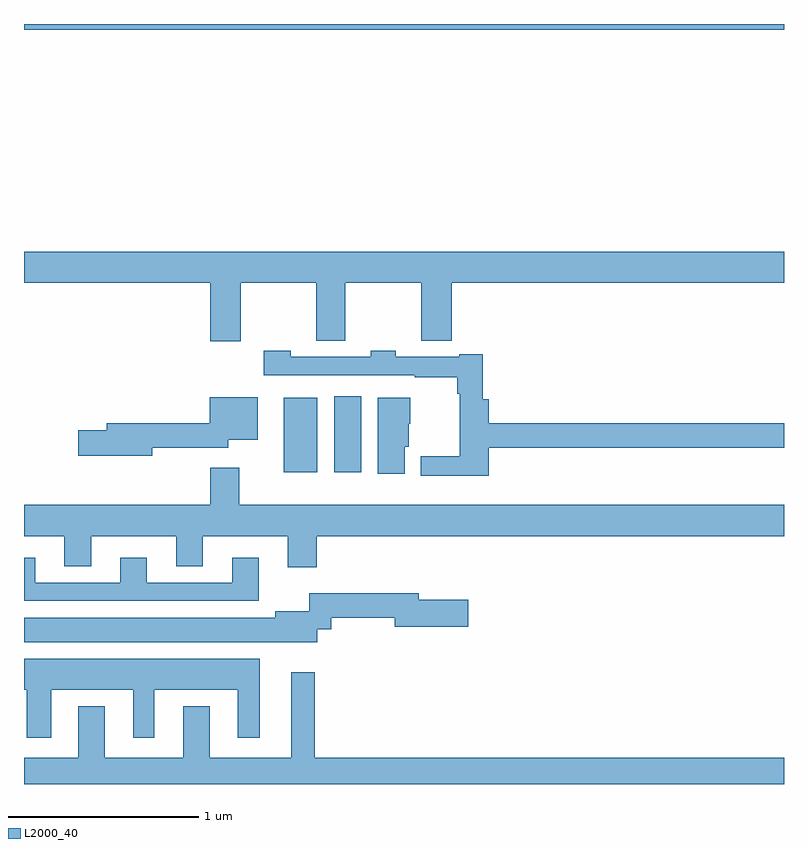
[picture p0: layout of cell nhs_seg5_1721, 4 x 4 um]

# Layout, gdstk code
import gdstk
lib = gdstk.Library(unit=1e-6, precision=1e-09)
def R(c, l, rs):  # rectangles x0, y0, x1, y1
    for r in rs: c.add(gdstk.rectangle(r[:2], r[2:], *l))
def P(c, l, *ps):  # polygons
    for p in ps: c.add(gdstk.Polygon(p, *l))
L2000_40 = (2000, 40)

nhs_seg5_1721 = lib.new_cell('nhs_seg5_1721')
R(nhs_seg5_1721, L2000_40, [(216.368,846.44,216.544,846.832), (216.632,846.44,216.775,846.841), (215,848.768,219,848.799)])
P(nhs_seg5_1721, L2000_40, [(216.141,847.436),(216.538,847.436),(216.538,847.132),(216.692,847.132),(216.692,847.436),(217.09,847.436),(217.09,847.132),(217.25,847.132),(217.25,847.436),(219,847.436),(219,847.6),(215,847.6),(215,847.436),(215.981,847.436),(215.981,847.128),(216.141,847.128)],
  [(217.445,846.57),(219,846.57),(219,846.698),(217.445,846.698),(217.445,846.823),(217.415,846.823),(217.415,847.06),(217.292,847.06),(217.292,847.047),(216.957,847.047),(216.957,847.08),(216.825,847.08),(216.825,847.047),(216.405,847.047),(216.405,847.08),(216.261,847.08),(216.261,846.951),(217.057,846.951),(217.057,846.939),(217.279,846.939),(217.279,846.854),(217.294,846.854),(217.294,846.524),(217.089,846.524),(217.089,846.422),(217.445,846.422)],
  [(215.674,846.57),(216.076,846.57),(216.076,846.611),(216.229,846.611),(216.229,846.835),(215.978,846.835),(215.978,846.698),(215.435,846.698),(215.435,846.662),(215.286,846.662),(215.286,846.527),(215.674,846.527)],
  [(217.003,846.573),(217.024,846.573),(217.024,846.696),(217.033,846.696),(217.033,846.832),(216.863,846.832),(216.863,846.432),(217.003,846.432)],
  [(216.542,846.104),(219,846.104),(219,846.268),(216.133,846.268),(216.133,846.463),(215.981,846.463),(215.981,846.268),(215,846.268),(215,846.104),(215.213,846.104),(215.213,845.944),(215.353,845.944),(215.353,846.104),(215.801,846.104),(215.801,845.944),(215.941,845.944),(215.941,846.104),(216.389,846.104),(216.389,845.94),(216.542,845.94)],
  [(216.235,845.989),(216.095,845.989),(216.095,845.859),(215.647,845.859),(215.647,845.989),(215.507,845.989),(215.507,845.859),(215.059,845.859),(215.059,845.989),(215,845.989),(215,845.763),(216.235,845.763)],
  [(216.544,845.613),(216.616,845.613),(216.616,845.674),(216.95,845.674),(216.95,845.627),(217.339,845.627),(217.339,845.769),(217.078,845.769),(217.078,845.803),(216.502,845.803),(216.502,845.709),(216.323,845.709),(216.323,845.674),(215,845.674),(215,845.546),(216.544,845.546)],
  [(215.143,845.294),(215.576,845.294),(215.576,845.043),(215.686,845.043),(215.686,845.294),(216.125,845.294),(216.125,845.043),(216.241,845.043),(216.241,845.458),(215,845.458),(215,845.294),(215.015,845.294),(215.015,845.043),(215.143,845.043)],
  [(219,844.936),(216.529,844.936),(216.529,845.386),(216.407,845.386),(216.407,844.936),(215.977,844.936),(215.977,845.209),(215.837,845.209),(215.837,844.936),(215.425,844.936),(215.425,845.209),(215.285,845.209),(215.285,844.936),(215,844.936),(215,844.799),(219,844.799)])

lib.write_gds('nhs_seg5_1721.gds')
